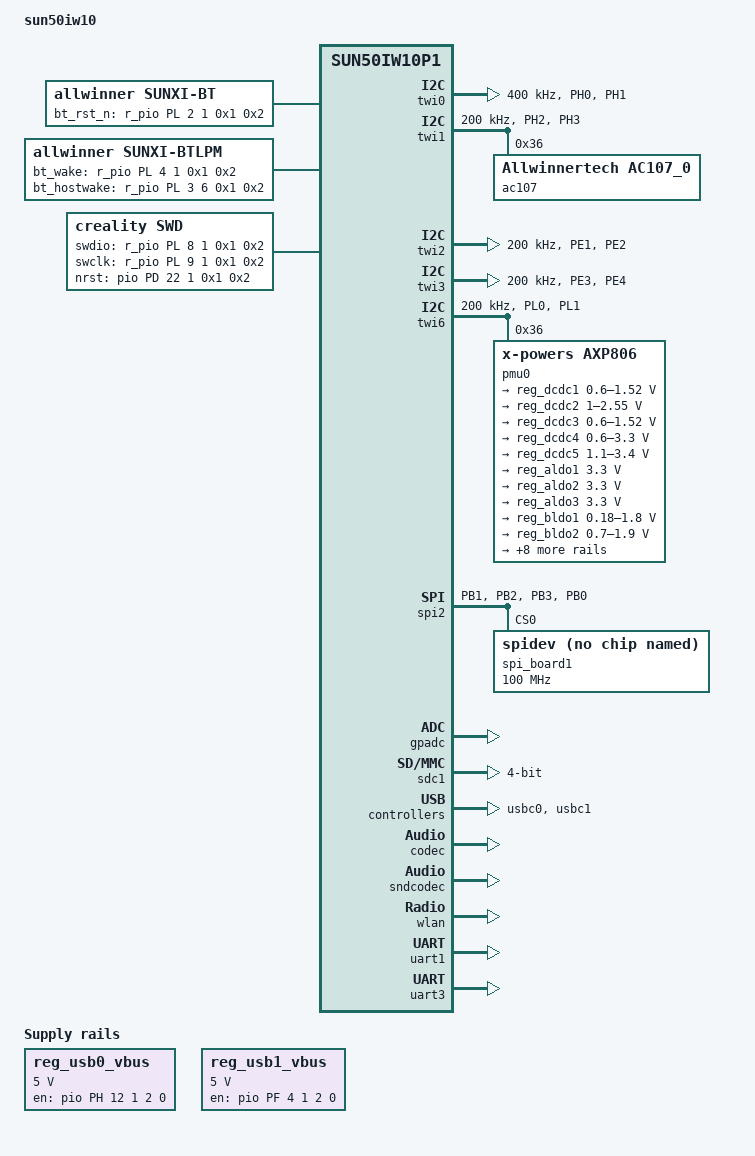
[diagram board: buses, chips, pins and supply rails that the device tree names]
/*
 * Allwinner Technology CO., Ltd. sun50iw10p1 soc board.
 *
 * soc board support.
 */

/dts-v1/;

#include "sun50iw10p1.dtsi"

/{
	model = "sun50iw10";
	compatible = "allwinner,r818", "arm,sun50iw10p1";

	aliases {
		pmu0 = &pmu0;
		standby_param = &standby_param;
	};

	reg_usb0_vbus: usb0-vbus {
		compatible = "regulator-fixed";
		gpio = <&pio PH 12 1 2 0 0>;
		regulator-name = "usb0-vbus";
		regulator-min-microvolt = <5000000>;
		regulator-max-microvolt = <5000000>;
		enable-active-high;
	};

	reg_usb1_vbus: usb1-vbus {
		compatible = "regulator-fixed";
		gpio = <&pio PF 4 1 2 0 1>;
		regulator-name = "usb1-vbus";
		regulator-min-microvolt = <5000000>;
		regulator-max-microvolt = <5000000>;
		enable-active-high;
	};

	soc@03000000 {

		r_pio: pinctrl@07022000 {

			s_twi0_pins_a: s_twi0@0 {
				allwinner,pins = "PL0", "PL1";
				allwinner,pname = "s_twi0_scl", "s_twi0_sda";
				allwinner,function = "s_twi0";
				allwinner,muxsel = <2>;
				allwinner,drive = <1>;
				allwinner,pull = <1>;
			};

			s_twi0_pins_b: s_twi0@1 {
				allwinner,pins = "PL0", "PL1";
				allwinner,function = "io_disabled";
				allwinner,muxsel = <7>;
				allwinner,drive = <1>;
				allwinner,pull = <0>;
			};
			s_twi1_pins_a: s_twi1@0 {
				allwinner,pins = "PL8", "PL9";
				allwinner,pname = "s_twi1_scl", "s_twi1_sda";
				allwinner,function = "s_twi1";
				allwinner,muxsel = <2>;
				allwinner,drive = <1>;
				allwinner,pull = <1>;
			};

			s_twi1_pins_b: s_twi1@1 {
				allwinner,pins = "PL8", "PL9";
				allwinner,function = "io_disabled";
				allwinner,muxsel = <7>;
				allwinner,drive = <1>;
				allwinner,pull = <0>;
			};
		};
		pio: pinctrl@0300b000 {
			twi0_pins_a: twi0@0 {
				allwinner,pins = "PH0", "PH1";
				allwinner,pname = "twi0_scl", "twi0_sda";
				allwinner,function = "twi0";
				allwinner,muxsel = <2>;
				allwinner,drive = <1>;
				allwinner,pull = <0>;
			};

			twi0_pins_b: twi0@1 {
				allwinner,pins = "PH0", "PH1";
				allwinner,function = "io_disabled";
				allwinner,muxsel = <7>;
				allwinner,drive = <1>;
				allwinner,pull = <0>;
			};

			twi1_pins_a: twi1@0 {
				allwinner,pins = "PH2", "PH3";
				allwinner,pname = "twi1_scl", "twi1_sda";
				allwinner,function = "twi1";
				allwinner,muxsel = <2>;
				allwinner,drive = <1>;
				allwinner,pull = <0>;
			};

			twi1_pins_b: twi1@1 {
				allwinner,pins = "PH2", "PH3";
				allwinner,function = "io_disabled";
				allwinner,muxsel = <7>;
				allwinner,drive = <1>;
				allwinner,pull = <0>;
			};

			twi2_pins_a: twi2@0 {
				allwinner,pins = "PE1", "PE2";
				allwinner,pname = "twi2_scl", "twi2_sda";
				allwinner,function = "twi2";
				allwinner,muxsel = <2>;
				allwinner,drive = <1>;
				allwinner,pull = <0>;
			};

			twi2_pins_b: twi2@1 {
				allwinner,pins = "PE1", "PE2";
				allwinner,function = "io_disabled";
				allwinner,muxsel = <7>;
				allwinner,drive = <1>;
				allwinner,pull = <0>;
			};

			twi3_pins_a: twi3@0 {
				allwinner,pins = "PE3", "PE4";
				allwinner,pname = "twi3_scl", "twi3_sda";
				allwinner,function = "twi3";
				allwinner,muxsel = <2>;
				allwinner,drive = <1>;
				allwinner,pull = <1>;
			};

			twi3_pins_b: twi3@1 {
				allwinner,pins = "PE3", "PE4";
				allwinner,function = "io_disabled";
				allwinner,muxsel = <7>;
				allwinner,drive = <1>;
				allwinner,pull = <0>;
			};

			pwm0_pin_a: pwm0@0 {
				allwinner,pins = "PD23";
				allwinner,function = "pwm0";
				allwinner,muxsel = <0x02>;
				allwinner,drive = <0x2>;
				allwinner,pull = <0>;
				allwinner,data = <0xffffffff>;
			};

			pwm0_pin_b: pwm0@1 {
				allwinner,pins = "PD23";
				allwinner,function = "io_disabled";
				allwinner,muxsel = <0x07>;
				allwinner,drive = <0x2>;
				allwinner,pull = <0>;
				allwinner,data = <0xffffffff>;
			};

			pwm1_pin_a: pwm1@0 {
				allwinner,pins = "PD22";
				allwinner,function = "pwm1";
				allwinner,muxsel = <0x02>;
				allwinner,drive = <0x2>;
				allwinner,pull = <0>;
				allwinner,data = <0xffffffff>;
			};

			pwm1_pin_b: pwm1@1 {
				allwinner,pins = "PD22";
				allwinner,function = "io_disabled";
				allwinner,muxsel = <0x07>;
				allwinner,drive = <0x2>;
				allwinner,pull = <0>;
				allwinner,data = <0xffffffff>;
			};

			pwm2_pin_a: pwm2@0 {
				allwinner,pins = "PD20";
				allwinner,function = "pwm2";
				allwinner,muxsel = <0x02>;
				allwinner,drive = <0x2>;
				allwinner,pull = <0>;
				allwinner,data = <0xffffffff>;
			};

			pwm2_pin_b: pwm2@1 {
				allwinner,pins = "PD20";
				allwinner,function = "io_disabled";
				allwinner,muxsel = <0x07>;
				allwinner,drive = <0x2>;
				allwinner,pull = <0>;
				allwinner,data = <0xffffffff>;
			};

			pwm3_pin_a: pwm3@0 {
				allwinner,pins = "PD21";
				allwinner,function = "pwm3";
				allwinner,muxsel = <0x02>;
				allwinner,drive = <0x2>;
				allwinner,pull = <0>;
				allwinner,data = <0xffffffff>;
			};

			pwm3_pin_b: pwm3@1 {
				allwinner,pins = "PD21";
				allwinner,function = "io_disabled";
				allwinner,muxsel = <0x07>;
				allwinner,drive = <0x2>;
				allwinner,pull = <0>;
				allwinner,data = <0xffffffff>;
			};

			ledc_pins_a: ledc@0 {
				allwinner,pins = "PH19";
				allwinner,function = "ledc";
				allwinner,muxsel = <5>;
			};

			ledc_pins_b: ledc@1 {
				allwinner,pins = "PH19";
				allwinner,function = "io_disabled";
				allwinner,muxsel = <7>;
			};

			usb1_vbus_pin_a: usb1_vbus_pin@0 {
				allwinner,pins = "PF4";
				allwinner,function = "gpio_out";
				allwinner,muxsel = <0x01>;
				allwinner,drive = <0x2>;
				allwinner,pull = <0>;
				allwinner,data = <0x0>;
			};

			spi0_pins_a: spi0@0 {
				allwinner,pins = "PC2", "PC4", "PC12", "PC15", "PC16";
				allwinner,pname = "spi0_mosi", "spi0_miso",
						  "spi0_sclk", "spi0_wp", "spi0_hold";
				allwinner,function = "spi0";
				allwinner,muxsel = <4>;
				allwinner,drive = <1>;
				allwinner,pull = <0>;
			};

			spi0_pins_b: spi0@1 {
				allwinner,pins = "PC3", "PC7";
				allwinner,pname = "spi0_cs0", "spi0_cs1";
				allwinner,function = "spi0";
				allwinner,muxsel = <4>;
				allwinner,drive = <1>;
				allwinner,pull = <1>;	/* only CS should be pulled up */
			};

			spi0_pins_c: spi0@2 {
				allwinner,pins = "PC2", "PC3", "PC4", "PC7", "PC12", "PC15", "PC16";
				allwinner,function = "io_disabled";
				allwinner,muxsel = <7>;
				allwinner,drive = <1>;
				allwinner,pull = <0>;
			};

			spi1_pins_a: spi1@0 {
				allwinner,pins = "PD11", "PD12", "PD13";
				allwinner,pname = "spi1_sclk", "spi1_mosi",
						  "spi1_miso";
				allwinner,function = "spi1";
				allwinner,muxsel = <4>;
				allwinner,drive = <1>;
				allwinner,pull = <0>;
			};

			spi1_pins_b: spi1@1 {
				allwinner,pins = "PD10";
				allwinner,pname = "spi1_cs0";
				allwinner,function = "spi1";
				allwinner,muxsel = <4>;
				allwinner,drive = <1>;
				allwinner,pull = <1>;	/* only CS should be pulled up */
			};

			spi1_pins_c: spi1@2 {
				allwinner,pins = "PD10", "PD11", "PD12", "PD13";
				allwinner,function = "io_disabled";
				allwinner,muxsel = <7>;
				allwinner,drive = <1>;
				allwinner,pull = <0>;
			};

			spi2_pins_a: spi2@0 {
				allwinner,pins = "PB1", "PB2", "PB3";
				allwinner,pname = "spi2_sclk", "spi2_mosi",
						  "spi2_miso";
				allwinner,function = "spi2";
				allwinner,muxsel = <3>;
				allwinner,drive = <1>;
				allwinner,pull = <0>;
			};

			spi2_pins_b: spi2@1 {
				allwinner,pins = "PB0";
				allwinner,pname = "spi2_cs0";
				allwinner,function = "spi2";
				allwinner,muxsel = <3>;
				allwinner,drive = <1>;
				allwinner,pull = <1>;	/* only CS should be pulled up */
			};

			spi2_pins_c: spi2@2 {
				allwinner,pins = "PB0", "PB1", "PB2", "PB3";
				allwinner,function = "io_disabled";
				allwinner,muxsel = <7>;
				allwinner,drive = <1>;
				allwinner,pull = <0>;
			};
		};


		/delete-node/ thermal-zones;

		thermal-zones {
			cpu_thermal_zone {
				polling-delay-passive = <500>;
				polling-delay = <1000>;
				thermal-sensors = <&ths 0>;
				trips{
					cpu_trip0:t0{
						temperature = <95000>;
						type = "passive";
						hysteresis = <0>;
					};
					cpu_trip1:t1{
						temperature = <100000>;
						type = "passive";
						hysteresis = <0>;
					};
					cpu_trip2:t2{
						temperature = <110000>;
						type = "passive";
						hysteresis = <0>;
					};
					crt_trip:shutdown{
						temperature = <120000>;
						type = "critical";
						hysteresis = <0>;
					};
				};
				cooling-maps {
					bind0{
						contribution = <0>;
						trip = <&cpu_trip0>;
						cooling-device = <&cpu0 1 1>;
					};
					bind1{
						contribution = <0>;
						trip = <&cpu_trip1>;
						cooling-device = <&cpu0 2 2>;
					};
					bind2{
						contribution = <0>;
						trip = <&cpu_trip2>;
						cooling-device = <&cpu0 3 3>;
					};
				/*	map1{
						trip = <&cpu_target>;
						cooling-device = <&gpu
						THERMAL_NO_LIMIT
						THERMAL_NO_LIMIT>;
						contribution = <1024>;
					};	*/
				};
			};
			gpu_thermal_zone{
				polling-delay-passive = <500>;
				polling-delay = <1000>;
				thermal-sensors = <&ths 1>;
				sustainable-power = <1100>;
			};
			ddr_thermal_zone{
				polling-delay-passive = <0>;
				polling-delay = <0>;
				thermal-sensors = <&ths 2>;
			};
		};

		uart0: uart@05000000 {
			uart-supply = <&reg_dcdc5>;
		};

		twi0: twi@0x05002000{
			clock-frequency = <400000>;
			pinctrl-0 = <&twi0_pins_a>;
			pinctrl-1 = <&twi0_pins_b>;
			status = "okay";
			/* audio: add ac108 capture */
			/*
                        ac108@3B {
				compatible = "Allwinner,MicArray_0";
				device_type = "MicArray_0";
				reg = <0x3B>;
				regulator_used = <0x0>;
				power_gpio_used = <0x0>;
				reset_gpio_used = <0x0>;
				twi_bus = <0x1>;
				pga_gain = <0x1F>;
				slot_width = <0x20>;
				lrck_period = <0x80>;
				ref_pga_used = <0x1>;
				ref_pga_gain = <0x10>;
				ref_channel = <0x3>;
				debug_mode = <0x0>;
			};
			*/
		};

		twi1: twi@0x05002400{
			clock-frequency = <200000>;
			pinctrl-0 = <&twi1_pins_a>;
			pinctrl-1 = <&twi1_pins_b>;
			status = "okay";
			ac107@36 {
				compatible = "Allwinnertech,ac107_0";
				gpio-reset = "null";
				reg = <0x36>;
				status = "okay";
			};
		};

		twi2: twi@0x05002800{
			clock-frequency = <200000>;
			pinctrl-0 = <&twi2_pins_a>;
			pinctrl-1 = <&twi2_pins_b>;
			twi-supply = <&reg_cldo2>;
			status = "okay";
		};

		twi3: twi@0x05002c00{
			clock-frequency = <200000>;
			pinctrl-0 = <&twi3_pins_a>;
			pinctrl-1 = <&twi3_pins_b>;
			twi-supply = <&reg_cldo2>;
			status = "okay";
		};

		twi6: s_twi@0x07081400{
			clock-frequency = <200000>;
			pinctrl-0 = <&s_twi0_pins_a>;
			pinctrl-1 = <&s_twi0_pins_b>;
			no_suspend = <1>;
			twi_drv_used = <1>;
			status = "okay";

			pmu0: pmu@36 {
				compatible = "x-powers,axp806";
				reg = <0x36>;
				interrupts = <0 IRQ_TYPE_LEVEL_LOW>;
				interrupt-parent = <&nmi_intc>;

				wakeup-source;

				usb_power_supply: usb_power_supply {
					compatible = "x-powers,axp806-usb-power-supply";
					status = "okay";

					pmu_usbpc_vol = <4600>;
					/*
					 * debug conveniently, change usbpc_cur 1000
					 * should be restore 500 later
					 */
					pmu_usbpc_cur = <1000>;
					pmu_usbad_vol = <4600>;
					pmu_usbad_cur = <1500>;

					wakeup_usb_in;
					wakeup_usb_out;
				};

				powerkey0: powerkey@0 {
					status = "okay";
					compatible = "x-powers,axp2101-pek";
					pmu_powkey_off_time = <6000>;
					pmu_powkey_off_func = <0>;
					pmu_powkey_off_en = <1>;
					pmu_powkey_long_time = <1500>;
					pmu_powkey_on_time = <512>;
					wakeup_rising;
					wakeup_falling;
				};

				regulator0: regulators@0 {
					reg_dcdc1: dcdca {
						regulator-name = "axp806-dcdca";
						regulator-min-microvolt = <600000>;
						regulator-max-microvolt = <1520000>;
						regulator-step-delay-us = <25>;
						regulator-final-delay-us = <50>;
						regulator-always-on;
					};

					reg_dcdc2: dcdcb {
						regulator-name = "axp806-dcdcb";
						regulator-min-microvolt = <1000000>;
						regulator-max-microvolt = <2550000>;
						regulator-step-delay-us = <25>;
						regulator-final-delay-us = <50>;
						regulator-always-on;
					};

					reg_dcdc3: dcdcc {
						regulator-name = "axp806-dcdcc";
						regulator-min-microvolt = <600000>;
						regulator-max-microvolt = <1520000>;
						regulator-step-delay-us = <25>;
						regulator-final-delay-us = <50>;
						regulator-always-on;
					};

					reg_dcdc4: dcdcd {
						regulator-name = "axp806-dcdcd";
						regulator-min-microvolt = <600000>;
						regulator-max-microvolt = <3300000>;
						regulator-step-delay-us = <25>;
						regulator-final-delay-us = <50>;
						regulator-always-on;
					};

					reg_dcdc5: dcdce {
						regulator-name = "axp806-dcdce";
						regulator-min-microvolt = <1100000>;
						regulator-max-microvolt = <3400000>;
						regulator-step-delay-us = <25>;
						regulator-final-delay-us = <50>;
					};

					reg_aldo1: aldo1 {
						regulator-name = "axp806-aldo1";
						regulator-min-microvolt = <3300000>;
						regulator-max-microvolt = <3300000>;
						regulator-step-delay-us = <25>;
						regulator-final-delay-us = <50>;
						regulator-always-on;
					};

					reg_aldo2: aldo2 {
						regulator-name = "axp806-aldo2";
						regulator-min-microvolt = <3300000>;
						regulator-max-microvolt = <3300000>;
						regulator-step-delay-us = <25>;
						regulator-final-delay-us = <50>;
						/*regulator-always-on;*/
					};

					reg_aldo3: aldo3 {
						regulator-name = "axp806-aldo3";
						regulator-min-microvolt = <3300000>;
						regulator-max-microvolt = <3300000>;
						regulator-step-delay-us = <25>;
						regulator-final-delay-us = <50>;
						regulator-always-on;
					};

					reg_bldo1: bldo1 {
						regulator-name = "axp806-bldo1";
						regulator-min-microvolt = <180000>;
						regulator-max-microvolt = <1800000>;
						regulator-step-delay-us = <25>;
						regulator-final-delay-us = <50>;
						regulator-always-on;
					};

					reg_bldo2: bldo2 {
						regulator-name = "axp806-bldo2";
						regulator-min-microvolt = <700000>;
						regulator-max-microvolt = <1900000>;
						regulator-step-delay-us = <25>;
						regulator-final-delay-us = <50>;
						regulator-always-on;
					};

					reg_bldo3: bldo3 {
						regulator-name = "axp806-bldo3";
						regulator-min-microvolt = <700000>;
						regulator-max-microvolt = <1900000>;
						regulator-step-delay-us = <25>;
						regulator-final-delay-us = <50>;
					};

					reg_bldo4: bldo4 {
						regulator-name = "axp806-bldo4";
						regulator-min-microvolt = <700000>;
						regulator-max-microvolt = <1900000>;
						regulator-step-delay-us = <25>;
						regulator-final-delay-us = <50>;
					};

					reg_cldo1: cldo1 {
						regulator-name = "axp806-cldo1";
						regulator-min-microvolt = <700000>;
						regulator-max-microvolt = <3300000>;
						regulator-step-delay-us = <25>;
						regulator-final-delay-us = <50>;
						regulator-always-on;
					};

					reg_cldo2: cldo2 {
						regulator-name = "axp806-cldo2";
						regulator-min-microvolt = <700000>;
						regulator-max-microvolt = <4200000>;
						regulator-step-delay-us = <25>;
						regulator-final-delay-us = <50>;
					};

					reg_cldo3: cldo3 {
						regulator-name = "axp806-cldo3";
						regulator-min-microvolt = <700000>;
						regulator-max-microvolt = <3300000>;
						regulator-step-delay-us = <25>;
						regulator-final-delay-us = <50>;
					};

					/* Need to be deleted */
					reg_dldo1: ldo2 {
						regulator-name = "axp1530-dldo1";
						regulator-min-microvolt = <3300000>;
						regulator-max-microvolt = <3300000>;
						regulator-step-delay-us = <25>;
						regulator-final-delay-us = <50>;
						regulator-always-on;
					};

					reg_sw: sw {
						regulator-name = "axp806-sw";
					};

					reg_drivevbus: drivevbus {
						regulator-name = "axp806-drivevbus";
					};

				};

				virtual-dcdc1 {
					compatible = "xpower-vregulator,dcdc1";
					dcdc1-supply = <&reg_dcdc1>;
				};
				virtual-dcdc2 {
					compatible = "xpower-vregulator,dcdc2";
					dcdc2-supply = <&reg_dcdc2>;
				};
				virtual-dcdc3 {
					compatible = "xpower-vregulator,dcdc3";
					dcdc3-supply = <&reg_dcdc3>;
				};
				virtual-dcdc4 {
					compatible = "xpower-vregulator,dcdc4";
					dcdc4-supply = <&reg_dcdc4>;
				};
				virtual-dcdc5 {
					compatible = "xpower-vregulator,dcdc5";
					dcdc5-supply = <&reg_dcdc5>;
				};
				virtual-aldo1 {
					compatible = "xpower-vregulator,aldo1";
					aldo1-supply = <&reg_aldo1>;
				};
				virtual-aldo2 {
					compatible = "xpower-vregulator,aldo2";
					aldo2-supply = <&reg_aldo2>;
				};
				virtual-aldo3 {
					compatible = "xpower-vregulator,aldo3";
					aldo3-supply = <&reg_aldo3>;
				};
				virtual-bldo1 {
					compatible = "xpower-vregulator,bldo1";
					bldo1-supply = <&reg_bldo1>;
				};
				virtual-bldo2 {
					compatible = "xpower-vregulator,bldo2";
					bldo2-supply = <&reg_bldo2>;
				};
				virtual-bldo3 {
					compatible = "xpower-vregulator,bldo3";
					bldo3-supply = <&reg_bldo3>;
				};
				virtual-bldo4 {
					compatible = "xpower-vregulator,bldo4";
					bldo4-supply = <&reg_bldo4>;
				};
				virtual-cldo1 {
					compatible = "xpower-vregulator,cldo1";
					cldo1-supply = <&reg_cldo1>;
				};
				virtual-cldo2 {
					compatible = "xpower-vregulator,cldo2";
					cldo2-supply = <&reg_cldo2>;
				};
				virtual-cldo3 {
					compatible = "xpower-vregulator,cldo3";
					cldo3-supply = <&reg_cldo3>;
				};
				virtual-drivevbus {
					compatible = "xpower-vregulator,drivevbus";
					drivevbus-supply = <&reg_drivevbus>;
				};
			};
		};

		twi7: s_twi@0x07081800{
			clock-frequency = <200000>;
			pinctrl-0 = <&s_twi1_pins_a>;
			pinctrl-1 = <&s_twi1_pins_b>;
			status = "disabled";
		};
		standby_param: standby_param {
			vdd-cpu = <0x00000001>;
			vdd-sys = <0x00000004>;
			vcc-pll = <0x00000000>;
			osc24m-on = <0x1>;
		};


		spi0: spi@05010000 {
			pinctrl-0 = <&spi0_pins_a &spi0_pins_b>;
			pinctrl-1 = <&spi1_pins_c>;
			spi_slave_mode = <0>;
			status = "disabled";
			spi_board0 {
				device_type = "spi_board0";
				compatible = "rohm,dh2228fv";
				spi-max-frequency = <0x5f5e100>;
				reg = <0x0>;
				spi-rx-bus-width = <0x1>;
				spi-tx-bus-width = <0x1>;
				status = "disabled";
			};
		};

		spi1: spi@05011000 {
			pinctrl-0 = <&spi1_pins_a &spi1_pins_b>;
			pinctrl-1 = <&spi1_pins_c>;
			spi_slave_mode = <0>;
			status = "disabled";
			spi_board1 {
				device_type = "spi_board1";
				compatible = "rohm,dh2228fv";
				spi-max-frequency = <0x5f5e100>;
				reg = <0x0>;
				spi-rx-bus-width = <0x1>;
				spi-tx-bus-width = <0x1>;
				status = "disabled";
			};
		};

		spi2: spi@05012000 {
			pinctrl-0 = <&spi2_pins_a &spi2_pins_b>;
			pinctrl-1 = <&spi2_pins_c>;
			spi_slave_mode = <0>;
			status = "okay";
			spi_board1 {
				device_type = "spi_board2";
				compatible = "rohm,dh2228fv";
				spi-max-frequency = <100000000>;
				reg = <0x0>;
				spi-rx-bus-width = <0x1>;
				spi-tx-bus-width = <0x1>;
				status = "okay";
			};
		};

		pwm0: pwm0@0300a000 {
			pinctrl-names = "active", "sleep";
			pinctrl-0 = <&pwm0_pin_a>;
			pinctrl-1 = <&pwm0_pin_b>;
		};

		pwm1: pwm1@0300a000 {
			pinctrl-names = "active", "sleep";
			pinctrl-0 = <&pwm1_pin_a>;
			pinctrl-1 = <&pwm1_pin_b>;
		};

		ledc: ledc@0x05018000 {
			pinctrl-0 = <&ledc_pins_a>;
			pinctrl-1 = <&ledc_pins_b>;
			status	  = "okay";
		};

		gpadc:gpadc{
			channel_num = <1>;
			channel_select = <0x01>;
			channel_data_select = <0>;
			channel_compare_select = <0x01>;
			channel_cld_select = <0x01>;
			channel_chd_select = <0>;
			channel0_compare_lowdata = <1700000>;
			channel0_compare_higdata = <1200000>;
			key_cnt = <5>;
			key0_vol = <115>;
			key0_val = <115>;
			key1_vol = <240>;
			key1_val = <114>;
			key2_vol = <360>;
			key2_val = <139>;
			key3_vol = <480>;
			key3_val = <28>;
			key4_vol = <600>;
			key4_val = <102>;
			status = "okay";
		};

		sdc2: sdmmc@04022000 {
			non-removable;
			bus-width = <8>;
			mmc-ddr-1_8v;
			mmc-hs200-1_8v;
			mmc-hs400-1_8v;
			no-sdio;
			no-sd;
			ctl-spec-caps = <0x8>;
			cap-mmc-highspeed;
			sunxi-power-save-mode;
			sunxi-dis-signal-vol-sw;
			max-frequency = <100000000>;
			vmmc-supply = <&reg_dcdc5>;
			/*emmc io vol 3.3v*/
			/*vqmmc-supply = <&reg_aldo1>;*/
			/*emmc io vol 1.8v*/
			vqmmc-supply = <&reg_dcdc5>;
			status = "disabled";
		};

		sdc0: sdmmc@04020000 {
			bus-width = <4>;
			cd-gpios = <&pio PF 6 6 1 3 0xffffffff>;
			/*non-removable;*/
			/*broken-cd;*/
			/*cd-inverted*/
			/*data3-detect;*/
			/*card-pwr-gpios = <&pio PH 14 1 1 2 0xffffffff>;*/
			cd-used-24M;
			cap-sd-highspeed;
			sd-uhs-sdr50;
			sd-uhs-ddr50;
			sd-uhs-sdr104;
			no-sdio;
			no-mmc;
			sunxi-power-save-mode;
			/*sunxi-dis-signal-vol-sw;*/
			max-frequency = <150000000>;
			ctl-spec-caps = <0x8>;
			/*vmmc-supply = <&reg_dcdc1>;*/
			/*vqmmc33sw-supply = <&reg_dcdc1>;*/
			/*vdmmc33sw-supply = <&reg_dcdc1>;*/
			/*vqmmc18sw-supply = <&reg_eldo1>;*/
			/*vdmmc18sw-supply = <&reg_eldo1>;*/
			status = "disabled";
		};

		sdc1: sdmmc@04021000 {
			bus-width = <4>;
			no-mmc;
			no-sd;
			cap-sd-highspeed;
			/*sd-uhs-sdr12*/
			/*sd-uhs-sdr25*/
			/*sd-uhs-sdr50;*/
			/*sd-uhs-ddr50;*/
			/*sd-uhs-sdr104*/
			/*sunxi-power-save-mode;*/
			/*sunxi-dis-signal-vol-sw;*/
			cap-sdio-irq;
			keep-power-in-suspend;
			ignore-pm-notify;
			max-frequency = <50000000>;
			ctl-spec-caps = <0x8>;
			status = "okay";
		};

/*
 *usb_used: usb controller enable. 0-disable, 1-enable.
 *usb_port_type: usb mode. 0-device, 1-host, 2-otg.
 *usb_detect_mode: usb otg switch has two config. 0-thread scan, 1-id gpio interrupt.
 *usb_drv_vbus_gpio：USB DRY_VBUS pin config or "axp_ctrl"
 */
		usbc0:usbc0@0 {
			device_type = "usbc0";
			usb_port_type = <0x2>;
			usb_detect_mode = <0x0>;
			usb_id_gpio = <&pio PF 0 0 0 0xffffffff 0xffffffff>;
			usb_det_vbus_gpio   = <&pio PF 0 0 0 0xffffffff 0xffffffff>;
			usb_regulator_io = "nocare";
			usb_wakeup_suspend = <0>;
			usb_luns = <3>;
			usb_serial_unique = <1>;
			usb_serial_number = "20080411";
			rndis_wceis = <1>;
			status = "okay";
		};

		ehci0:ehci0-controller@0x05101000 {
			drvvbus-supply = <&reg_usb0_vbus>;
		};

		ohci0:ohci0-controller@0x05101400 {
			drvvbus-supply = <&reg_usb0_vbus>;
		};

		usbc1:usbc1@0 {
			device_type = "usbc1";
			usb_regulator_io = "nocare";
			usb_wakeup_suspend = <0>;
			status = "okay";
		};

		ehci1:ehci1-controller@0x05200000 {
			drvvbus-supply = <&reg_usb1_vbus>;
		};

		ohci1:ohci1-controller@0x05200400 {
			drvvbus-supply = <&reg_usb1_vbus>;
		};

		/* Audio Driver Modules */
		codec:codec@0x05096000 {
			/* MIC and headphone gain setting */
			mic1gain 	= <0x17>;
			mic2gain 	= <0x17>;
			headphonegain	= <0x00>;
			/* adc/dac DRC/HPF func enabled */
			adcdrc_cfg 	= <0x00>;
			adchpf_cfg 	= <0x00>;
			dacdrc_cfg 	= <0x00>;
			dachpf_cfg 	= <0x00>;
			/* Volume about */
			digital_vol 	= <0x00>;
			lineout_vol 	= <0x1a>;
			dac_digital_vol = <0x1A0A0>;
			/* Pa enabled about */
			pa_level 	= <0x01>;
			pa_msleep_time 	= <0xa0>;
			gpio-spk = <&pio PF 2 1 1 1 1>;
			/* regulator about */
			avcc-supply = <&reg_bldo1>;
			cpvin-supply = <&reg_bldo3>;
			status = "okay";
		};

		cpudai:cpudai-controller@0x050906000 {
			status = "okay";
		};

		sndcodec:sound@0 {
			status = "okay";
		};

		spdif:spdif-controller@0x05094000{
			status = "disabled";
		};

		sndspdif:sound@1{
			status = "disabled";
		};

		dmic:dmic-controller@0x05095000{
			status = "disabled";
		};

		snddmic:sound@2{
			status = "disabled";
		};

		daudio0:daudio@0x05090000 {
			mclk_div 	= <0x02>;
			frametype 	= <0x00>;
			tdm_config 	= <0x01>;
			sign_extend 	= <0x00>;
			tx_data_mode 	= <0x00>;
			rx_data_mode 	= <0x00>;
			msb_lsb_first 	= <0x00>;
			pcm_lrck_period = <0x80>;
			slot_width_select = <0x20>;
			status = "okay";
		};

		snddaudio0:sound@3 {
		/*
			sunxi,snddaudio-codec = "ac108.0-003b";
			sunxi,snddaudio-codec-dai = "ac108-pcm0";
		*/
			sunxi,snddaudio-codec = "ac107.1-0036";
			sunxi,snddaudio-codec-dai = "ac107-pcm0";
			audio_format 	= <0x01>;
			daudio_master 	= <0x04>;
			signal_inversion  = <0x01>;
			status = "okay";
		};

		daudio1:daudio@0x05091000 {
			mclk_div 	= <0x01>;
			frametype 	= <0x00>;
			tdm_config 	= <0x01>;
			sign_extend 	= <0x00>;
			tx_data_mode 	= <0x00>;
			rx_data_mode 	= <0x00>;
			msb_lsb_first 	= <0x00>;
			pcm_lrck_period = <0x20>;
			slot_width_select = <0x20>;
			status = "disabled";
		};

		snddaudio1:sound@4 {
			audio_format 	= <0x01>;
			daudio_master 	= <0x04>;
			signal_inversion  = <0x01>;
			status = "disabled";
		};

		daudio2:daudio@0x05092000 {
			mclk_div 	= <0x01>;
			frametype 	= <0x00>;
			tdm_config 	= <0x01>;
			sign_extend 	= <0x00>;
			tx_data_mode 	= <0x00>;
			rx_data_mode 	= <0x00>;
			msb_lsb_first 	= <0x00>;
			pcm_lrck_period = <0x20>;
			slot_width_select = <0x20>;
			status = "disabled";
		};

		snddaudio2:sound@5 {
			audio_format 	= <0x01>;
			daudio_master 	= <0x04>;
			signal_inversion  = <0x01>;
			status = "disabled";
		};

		daudio3:daudio@0x05093000 {
			mclk_div 	= <0x01>;
			frametype 	= <0x00>;
			tdm_config 	= <0x01>;
			sign_extend 	= <0x00>;
			tx_data_mode 	= <0x00>;
			rx_data_mode 	= <0x00>;
			msb_lsb_first 	= <0x00>;
			pcm_lrck_period = <0x20>;
			slot_width_select = <0x20>;
			status = "disabled";
		};

		snddaudio3:sound@6 {
			audio_format 	= <0x01>;
			daudio_master 	= <0x04>;
			signal_inversion  = <0x01>;
			status = "disabled";
		};
		vind0:vind@0 {
			vind0_clk = <336000000>;
			vind0_isp = <300000000>;
			status = "okay";

			actuator0:actuator@0 {
				device_type = "actuator0";
				actuator0_name = "ad5820_act";
				actuator0_slave = <0x18>;
				actuator0_af_pwdn = <>;
				actuator0_afvdd = "afvcc-csi";
				actuator0_afvdd_vol = <2800000>;
				status = "disabled";
			};
			flash0:flash@0 {
				device_type = "flash0";
				flash0_type = <2>;
				flash0_en = <>;
				flash0_mode = <>;
				flash0_flvdd = "";
				flash0_flvdd_vol = <>;
				device_id = <0>;
				status = "disabled";
			};
			sensor0:sensor@0 {
				device_type = "sensor0";
				sensor0_mname = "imx278_mipi";
				sensor0_twi_cci_id = <2>;
				sensor0_twi_addr = <0x20>;
				sensor0_mclk_id = <0>;
				sensor0_pos = "rear";
				sensor0_isp_used = <1>;
				sensor0_fmt = <1>;
				sensor0_stby_mode = <0>;
				sensor0_vflip = <0>;
				sensor0_hflip = <0>;
				sensor0_iovdd-supply = <&reg_cldo2>;
				sensor0_iovdd_vol = <1800000>;
				sensor0_avdd-supply = <&reg_cldo3>;
				sensor0_avdd_vol = <2800000>;
				sensor0_dvdd-supply = <&reg_bldo4>;
				sensor0_dvdd_vol = <1200000>;
				sensor0_power_en = <>;
				sensor0_reset = <&pio PE 9 1 0 1 0>;
				sensor0_pwdn = <&pio PE 8 1 0 1 0>;
				status	= "okay";
			};
			sensor1:sensor@1 {
				device_type = "sensor1";
				sensor1_mname = "imx386_mipi";
				sensor1_twi_cci_id = <3>;
				sensor1_twi_addr = <0x20>;
				sensor1_mclk_id = <1>;
				sensor1_pos = "front";
				sensor1_isp_used = <1>;
				sensor1_fmt = <1>;
				sensor1_stby_mode = <0>;
				sensor1_vflip = <0>;
				sensor1_hflip = <0>;
				sensor1_iovdd-supply = <&reg_cldo2>;
				sensor1_iovdd_vol = <1800000>;
				sensor1_avdd-supply = <&reg_cldo3>;
				sensor1_avdd_vol = <2800000>;
				sensor1_dvdd-supply = <&reg_bldo4>;
				sensor1_dvdd_vol = <1200000>;
				sensor0_power_en = <>;
				sensor1_reset = <&pio PE 7 1 0 1 0>;
				sensor1_pwdn = <&pio PE 6 1 0 1 0>;
				status	= "okay";
			};
			vinc0:vinc@0 {
				vinc0_csi_sel = <0>;
				vinc0_mipi_sel = <0>;
				vinc0_isp_sel = <0>;
				vinc0_isp_tx_ch = <0>;
				vinc0_tdm_rx_sel = <0>;
				vinc0_rear_sensor_sel = <0>;
				vinc0_front_sensor_sel = <0>;
				vinc0_sensor_list = <0>;
				status = "okay";
			};
			vinc1:vinc@1 {
				vinc1_csi_sel = <1>;
				vinc1_mipi_sel = <1>;
				vinc1_isp_sel = <1>;
				vinc1_isp_tx_ch = <0>;
				vinc1_tdm_rx_sel = <1>;
				vinc1_rear_sensor_sel = <1>;
				vinc1_front_sensor_sel = <1>;
				vinc1_sensor_list = <0>;
				status = "okay";
			};
			vinc2:vinc@2 {
				vinc2_csi_sel = <1>;
				vinc2_mipi_sel = <1>;
				vinc2_isp_sel = <0>;
				vinc2_isp_tx_ch = <0>;
				vinc2_tdm_rx_sel = <1>;
				vinc2_rear_sensor_sel = <0>;
				vinc2_front_sensor_sel = <1>;
				vinc2_sensor_list = <0>;
				status = "disabled";
			};
			vinc3:vinc@3 {
				vinc3_csi_sel = <1>;
				vinc3_mipi_sel = <1>;
				vinc3_isp_sel = <0>;
				vinc3_isp_tx_ch = <0>;
				vinc3_tdm_rx_sel = <1>;
				vinc3_rear_sensor_sel = <0>;
				vinc3_front_sensor_sel = <1>;
				vinc3_sensor_list = <0>;
				status = "disabled";
			};
		};
/*----------------------------------------------------------------------------------
disp init configuration

disp_mode             (0:screen0<screen0,fb0>)
screenx_output_type   (0:none; 1:lcd; 2:tv; 3:hdmi;5:vdpo)
screenx_output_mode   (used for hdmi output, 0:480i 1:576i 2:480p 3:576p 4:720p50)
                      (5:720p60 6:1080i50 7:1080i60 8:1080p24 9:1080p50 10:1080p60)
screenx_output_format (for hdmi, 0:RGB 1:yuv444 2:yuv422 3:yuv420)
screenx_output_bits   (for hdmi, 0:8bit 1:10bit 2:12bit 2:16bit)
screenx_output_eotf   (for hdmi, 0:reserve 4:SDR 16:HDR10 18:HLG)
screenx_output_cs     (for hdmi, 0:undefined  257:BT709 260:BT601  263:BT2020)
screenx_output_dvi_hdmi (for hdmi, 0:undefined 1:dvi mode 2:hdmi mode)
screen0_output_range   (for hdmi, 0:default 1:full 2:limited)
screen0_output_scan    (for hdmi, 0:no data 1:overscan 2:underscan)
screen0_output_aspect_ratio  (for hdmi, 8-same as original picture 9-4:3 10-16:9 11-14:9)
fbx format            (4:RGB655 5:RGB565 6:RGB556 7:ARGB1555 8:RGBA5551 9:RGB888 10:ARGB8888 12:ARGB4444)
fbx pixel sequence    (0:ARGB 1:BGRA 2:ABGR 3:RGBA)
fb0_scaler_mode_enable(scaler mode enable, used FE)
fbx_width,fbx_height  (framebuffer horizontal/vertical pixels, fix to output resolution while equal 0)
lcdx_backlight        (lcd init backlight,the range:[0,256],default:197
lcdx_yy               (lcd init screen bright/contrast/saturation/hue, value:0~100, default:50/50/57/50)
lcd0_contrast         (LCD contrast, 0~100)
lcd0_saturation       (LCD saturation, 0~100)
lcd0_hue              (LCD hue, 0~100)
framebuffer software rotation setting:
disp_rotation_used:   (0:disable; 1:enable,you must set fbX_width to lcd_y,
set fbX_height to lcd_x)
degreeX:              (X:screen index; 0:0 degree; 1:90 degree; 3:270 degree)
degreeX_Y:            (X:screen index; Y:layer index 0~15; 0:0 degree; 1:90 degree; 3:270 degree)
devX_output_type : config output type in bootGUI framework in UBOOT-2018.
				   (0:none; 1:lcd; 2:tv; 4:hdmi;)
devX_output_mode : config output resolution(see include/video/sunxi_display2.h) of bootGUI framework in UBOOT-2018
devX_screen_id   : config display index of bootGUI framework in UBOOT-2018
devX_do_hpd      : whether do hpd detectation or not in UBOOT-2018
chn_cfg_mode     : Hardware DE channel allocation config. 0:single display with 6
				   channel, 1:dual display with 4 channel in main display and 2 channel in second
                   display, 2:dual display with 3 channel in main display and 3 channel in second
                   in display.
----------------------------------------------------------------------------------*/
		disp: disp@06000000 {
			disp_init_enable         = <1>;
			disp_mode                = <0>;

			screen0_output_type      = <1>;
			screen0_output_mode      = <4>;

			screen1_output_type      = <3>;
			screen1_output_mode      = <10>;

			screen1_output_format    = <0>;
			screen1_output_bits      = <0>;
			screen1_output_eotf      = <4>;
			screen1_output_cs        = <257>;
			screen1_output_dvi_hdmi  = <2>;
			screen1_output_range     = <2>;
			screen1_output_scan      = <0>;
			screen1_output_aspect_ratio = <8>;

			dev0_output_type         = <1>;
			dev0_output_mode         = <4>;
			dev0_screen_id           = <0>;
			dev0_do_hpd              = <0>;

			dev1_output_type         = <4>;
			dev1_output_mode         = <10>;
			dev1_screen_id           = <1>;
			dev1_do_hpd              = <1>;

			def_output_dev           = <0>;
			hdmi_mode_check          = <1>;

			fb0_format               = <0>;
			fb0_width                = <0>;
			fb0_height               = <0>;

			fb1_format               = <0>;
			fb1_width                = <0>;
			fb1_height               = <0>;
			chn_cfg_mode             = <1>;

			disp_para_zone           = <1>;
			/*VCC-LCD*/
			dc1sw-supply = <&reg_sw>;
			/*VCC-DSI*/
			/*eldo3-supply = <&reg_dcdc2>;*/
			/*VCC-PD*/
			/*dcdc1-supply = <&reg_dcdc5>;*/
		};
/*----------------------------------------------------------------------------
*tps65185
*-----------------------------------------------------------------------------
*tps65185 ic wakeup&vcom
*-----------------------------------------------------------------------------*/
		tps65185: tps65185@68 {
			tps65185_used             = <0>;
			tps65185_name             = "tps65185";
			tps65185_twi_id           = <0>;
			tps65185_twi_addr         = <0x68>;
			tps65185_wakeup           = <&pio PH 13 1 1 3 1>;
			tps65185_vcom             = <&pio PH 12 1 1 3 1>;
			tps65185_powerup          = <&pio PD 23 1 1 3 0>;
			dc1sw-supply		  = <&reg_sw>;
			tps65185_ldo		  = "dc1sw";
		};

		tps65185_slave: tps65185_slave@68 {
			tps65185_used             = <0>;
			tps65185_name             = "tps65185_slave";
			tps65185_twi_id           = <1>;
			tps65185_twi_addr         = <0x68>;
			/* the follow gpio is shared with master tps65185 */
		/*	tps65185_wakeup           = port:PH06<1><1><3><1>
			tps65185_vcom             = port:PB08<1><1><3><1>
			tps65185_powerup          = port:PH04<1><1><3><0>
			tps65185_powergood        = port:PD23<0><1><3><1>
			tps65185_int              = port:PH05<6><default><3><default>
			tps65185_ldo              = "vcc-pmic1"
			*/
		};
/*----------------------------------------------------------------------------------
 */
		eink: eink@06400000 {
			eink_panel_name     = "default_eink";
			eink_scan_mode      = <0>;
			eink_width          = <1024>;
			eink_height         = <758>;
			eink_bits           = <5>;
			eink_data_len       = <8>;
			eink_lsl            = <6>;
			eink_lbl            = <6>;
			eink_lel            = <38>;
			eink_fsl            = <2>;
			eink_fbl            = <4>;
			eink_fel            = <5>;
			eink_lgonl          = <262>;
			eink_gdck_sta       = <4>;
			eink_gdoe_start_line= <2>;
			eink_fresh_hz       = <85>;
			eink_gray_level     = <16>;
			eink_wav_path       = "/system/default_8_5.awf";
			vcom_path           = "/system/vcom.bin";
			/*VCC-LCD*/
			dc1sw-supply	    = <&reg_sw>;
			/*VCC-PD*/
			dcdc1-supply	    = <&reg_dcdc5>;
			eink_pin_power	    = "dcdc1";
			eink_power	    = "dc1sw";
			pinctrl-0	    = <&eink_pins_a>;
			pinctrl-1	    = <&eink_pins_b>;
		};
/*----------------------------------------------------------------------------------
;lcd0 configuration

;lcd_if:               0:hv(sync+de); 1:8080; 2:ttl; 3:lvds; 4:dsi; 5:edp; 6:extend dsi
;lcd_hv_if             0:Parallel RGB; 8:Serial RGB; 10:Dummy RGB; 11: RGB Dummy;12:CCIR656
;lcd_hv_clk_phase      0:0 degree;1:90 degree;2:180 degree;3:270 degree
;lcd_hv_sync_polarity  0:vs low,hs low; 1:vs high,hslow; 2:vs low,hs high; 3:vs high,hs high
;lcd_hv_syuv_seq       0:YUYV; 1:YVYU; 2:UYVY; 3:VYUY
;lcd_cpu_if            0:18bit/1 cycle parallel(RGB666); 4:16bit/1cycle parallel (RGB565)
;                      6:18bit/3 cycle parallel(RGB666); 7:16bit/2cycle parallel (RGB565)
;lcd_cpu_te            0:frame auto trigger; 1:frame triggered by te rising edge; 2:frame triggered by te falling edge;
;lcd_dsi_if            0:video mode; 1: Command mode; 2:video burst mode
;lcd_dsi_te            0:frame auto trigger; 1:frame triggered by te rising edge; 2:frame triggered by te falling edge;
;lcd_x:                lcd horizontal resolution
;lcd_y:                lcd vertical resolution
;lcd_width:            width of lcd in mm
;lcd_height:           height of lcd in mm
;lcd_dclk_freq:        in MHZ unit
;lcd_pwm_freq:         in HZ unit
;lcd_pwm_pol:          lcd backlight PWM polarity
;lcd_pwm_max_limit     lcd backlight PWM max limit(<=255)
;lcd_hbp:              hsync back porch(pixel) + hsync plus width(pixel);
;lcd_ht:               hsync total cycle(pixel)
;lcd_vbp:              vsync back porch(line) + vysnc plus width(line)
;lcd_vt:               vysnc total cycle(line)
;lcd_hspw:             hsync plus width(pixel)
;lcd_vspw:             vysnc plus width(pixel)
;lcd_lvds_if:          0:single link;  1:dual link
;lcd_lvds_colordepth:  0:8bit; 1:6bit
;lcd_lvds_mode:        0:NS mode; 1:JEIDA mode
;lcd_frm:              0:disable; 1:enable rgb666 dither; 2:enable rgb656 dither
;lcd_io_phase:         0:noraml; 1:intert phase(0~3bit: vsync phase; 4~7bit:hsync phase;
;                      8~11bit:dclk phase; 12~15bit:de phase)
;lcd_gamma_en          lcd gamma correction enable
;lcd_bright_curve_en   lcd bright curve correction enable
;lcd_cmap_en           lcd color map function enable
;deu_mode              0:smoll lcd screen; 1:large lcd screen(larger than 10inch)
;lcdgamma4iep:         Smart Backlight parameter, lcd gamma vale * 10;
;                      decrease it while lcd is not bright enough; increase while lcd is too bright
;smart_color           90:normal lcd screen 65:retina lcd screen(9.7inch)
;Pin setting for special function ie.LVDS, RGB data or vsync
;   name(donot care) = port:PD12<pin function><pull up or pull down><drive ability><output level>
;Pin setting for gpio:
;   lcd_gpio_X     = port:PD12<pin function><pull up or pull down><drive ability><output level>
;Pin setting for backlight enable pin
;   lcd_bl_en     = port:PD12<pin function><pull up or pull down><drive ability><output level>
;fsync setting, pulse to csi
;lcd_fsync_en          (0:disable fsync,1:enable)
;lcd_fsync_act_time    (active time of fsync, unit:pixel)
;lcd_fsync_dis_time    (disactive time of fsync, unit:pixel)
;lcd_fsync_pol         (0:positive;1:negative)
;gpio config: <&pio for cpu or &r_pio for cpus, port, port num, pio function,
pull up or pull down(default 0), driver level(default 1), data>
;For dual link lvds: use lvds2link_pins_a  and lvds2link_pins_b instead
;For rgb24: use rgb24_pins_a  and rgb24_pins_b instead
;For lvds1: use lvds1_pins_a  and lvds1_pins_b instead
;For lvds0: use lvds0_pins_a  and lvds0_pins_b instead
;----------------------------------------------------------------------------------*/
/*		
		lcd0: lcd0@01c0c000 {
			lcd_used            = <1>;

			lcd_driver_name     = "he0801a068";
			lcd_backlight       = <50>;
			lcd_if              = <4>;

			lcd_x               = <800>;
			lcd_y               = <1280>;
			lcd_width           = <52>;
			lcd_height          = <52>;
			lcd_dclk_freq       = <78>;

			lcd_pwm_used        = <1>;
			lcd_pwm_ch          = <0>;
			lcd_pwm_freq        = <50000>;
			lcd_pwm_pol         = <0>;
			lcd_pwm_max_limit   = <255>;


			lcd_hbp             = <149>;
			lcd_ht              = <978>;
			lcd_hspw            = <16>;
			lcd_vbp             = <7>;
			lcd_vt              = <1329>;
			lcd_vspw            = <5>;

			lcd_dsi_lane        = <4>;
			lcd_lvds_if         = <0>;
			lcd_lvds_colordepth = <0>;
			lcd_lvds_mode       = <0>;
			lcd_frm             = <0>;
			lcd_hv_clk_phase    = <0>;
			lcd_hv_sync_polarity= <0>;
			lcd_gamma_en        = <0>;
			lcd_bright_curve_en = <0>;
			lcd_cmap_en         = <0>;
			lcd_fsync_en        = <0>;
			lcd_fsync_act_time  = <1000>;
			lcd_fsync_dis_time  = <1000>;
			lcd_fsync_pol       = <0>;

			deu_mode            = <0>;
			lcdgamma4iep        = <22>;
			smart_color         = <90>;

			lcd_pin_power = "dcdc1";
			lcd_pin_power1 = "eldo3";
			lcd_bl_en = <&pio PH 12 1 0 3 1>;

			lcd_power = "dc1sw";
			lcd_gpio_0 = <&pio PD 22 1 0 3 1>;
			pinctrl-0 = <&dsi4lane_pins_a>;
			pinctrl-1 = <&dsi4lane_pins_b>;


		};
		*/
		/* lvds */
/*
		lcd0: lcd0@01c0c000 {
			lcd_used            = <1>;

			lcd_driver_name     = "default_lcd";
			lcd_backlight       = <50>;
			lcd_if              = <3>;

			lcd_x               = <1280>;
			lcd_y               = <800>;
			lcd_width           = <150>;
			lcd_height          = <94>;
			lcd_dclk_freq       = <68>;

			lcd_pwm_used        = <1>;
			lcd_pwm_ch          = <0>;
			lcd_pwm_freq        = <50000>;
			lcd_pwm_pol         = <1>;
			lcd_pwm_max_limit   = <255>;


			lcd_hbp             = <20>;
			lcd_ht              = <1418>;
			lcd_hspw            = <10>;
			lcd_vbp             = <10>;
			lcd_vt              = <814>;
			lcd_vspw            = <5>;

			lcd_lvds_if         = <0>;
			lcd_lvds_colordepth = <1>;
			lcd_lvds_mode       = <0>;
			lcd_frm             = <1>;
			lcd_hv_clk_phase    = <0>;
			lcd_hv_sync_polarity= <0>;
			lcd_gamma_en        = <0>;
			lcd_bright_curve_en = <0>;
			lcd_cmap_en         = <0>;
			lcd_fsync_en        = <0>;
			lcd_fsync_act_time  = <1000>;
			lcd_fsync_dis_time  = <1000>;
			lcd_fsync_pol       = <0>;

			deu_mode            = <0>;
			lcdgamma4iep        = <22>;
			smart_color         = <90>;

			//lcd_pin_power = "dcdc1";

			lcd_power = "dc1sw";
			lcd_bl_en        = <&r_pio PL 7 1 0 3 1>;
			pinctrl-0 = <&lvds0_pins_a>;
			pinctrl-1 = <&lvds0_pins_b>;

		};
*/
		lcd0: lcd0@01c0c000 {
			lcd_used            = <1>;

			lcd_driver_name     = "default_lcd";
			lcd_backlight       = <255>;
			lcd_if              = <0>;

			lcd_x               = <1024>;
			lcd_y               = <600>;
			lcd_width           = <154>;
			lcd_height          = <85>;
			lcd_dclk_freq       = <50>;

			lcd_pwm_used        = <1>;
			lcd_pwm_ch          = <0>;
			lcd_pwm_freq        = <50000>;
			lcd_pwm_pol         = <0>;
			lcd_pwm_max_limit   = <255>;


			lcd_hbp             = <130>;
			lcd_ht              = <1274>;
			lcd_hspw            = <10>;
			lcd_vbp             = <11>;
			lcd_vt              = <651>;
			lcd_vspw            = <1>;

			lcd_frm             = <1>;
			lcd_hv_clk_phase    = <0>;
			lcd_hv_sync_polarity= <0>;
			lcd_gamma_en        = <0>;
			lcd_bright_curve_en = <0>;
			lcd_cmap_en         = <0>;
			lcd_fsync_en        = <0>;
			lcd_fsync_act_time  = <1000>;
			lcd_fsync_dis_time  = <1000>;
			lcd_fsync_pol       = <0>;

			deu_mode            = <0>;
			lcdgamma4iep        = <22>;
			smart_color         = <90>;

			//lcd_pin_power = "dcdc1";

			lcd_power = "dc1sw";
			lcd_gpio_1 = <&pio PF 3 1 0 3 1>;
			lcd_bl_en = <&r_pio PL 7 1 0 3 1>;
			pinctrl-0 = <&rgb18_pins_a>;
			pinctrl-1 = <&rgb18_pins_b>;

		};
/*
		ctp {
				device_type = "ctp";
				status = "okay";
				ctp_name = "gt82x";
				ctp_twi_id = <0x0>;
				ctp_twi_addr = <0x38>;
				ctp_screen_max_x = <0x500>;
				ctp_screen_max_y = <0x320>;
				ctp_revert_x_flag = <0x1>;
				ctp_revert_y_flag = <0x1>;
				ctp_exchange_x_y_flag = <0x1>;
				ctp_int_port = <&pio PF 6 6 1 1 0>;
				ctp_wakeup = <&pio PF 1 1 1 1 1>;
				ctp-supply = <&reg_dcdc5>;
				ctp_power_ldo = <&reg_dcdc5>;
				ctp_power_ldo_vol = <3300>;
		};
*/
		ctp {
			device_type = "ctp";
			status = "okay";
			ctp_name = "gt9xxnew_ts";
			ctp_twi_id = <0x0>;
			ctp_twi_addr = <0x5D>;
			ctp_screen_max_x = <1024>;
			ctp_screen_max_y = <600>;
			ctp_revert_x_flag = <0x0>;
			ctp_revert_y_flag = <0x0>;
			ctp_exchange_x_y_flag = <0x0>;
			ctp_int_port = <&pio PF 6 6 1 1 0>;
			ctp_wakeup = <&pio PF 1 1 1 1 1>;
			ctp-supply = <&reg_dcdc5>;
			ctp_power_ldo = <&reg_dcdc5>;
			ctp_power_ldo_vol = <3300>;
		};

		wlan: wlan@0 {
			compatible    = "allwinner,sunxi-wlan";
			clocks        = <&clk_losc_out>;
			pinctrl-0;
			pinctrl-names;
			wlan_busnum    = <0x1>;
			wlan_power_num = <1>;
			wlan_power1    = "axp806-dcdce";
			wlan_io_regulator = "axp806-aldo2";
			wlan_io_voltage = <3300000>;
			wlan_power_voltage = <3300000>;
			wlan_regon    = <&r_pio PL 5 1 0x1 0x2 0>;
			wlan_hostwake = <&r_pio PL 6 6 0x1 0x2 0>;
			chip_en;
			power_en;
			status        = "okay";
			wakeup-source;
		};

		bt: bt@0 {
			compatible    = "allwinner,sunxi-bt";
			clocks        = <&clk_losc_out>;
			bt_power_num = <0x01>;
			bt_power1      = "axp806-dcdce";
			bt_io_regulator = "axp806-aldo2";
			bt_io_voltage = <3300000>;
			bt_power_voltage = <330000>;
			bt_rst_n      = <&r_pio PL 2 1 0x1 0x2 0>;
			status        = "okay";
		};

		btlpm: btlpm@0 {
			compatible  = "allwinner,sunxi-btlpm";
			uart_index  = <0x1>;
			bt_wake     = <&r_pio PL 4 1 0x1 0x2 1>;
			bt_hostwake = <&r_pio PL 3 6 0x1 0x2 1>;
			status      = "okay";
		};

		addr_mgt: addr_mgt@0 {
			compatible     = "allwinner,sunxi-addr_mgt";
			type_addr_wifi = <0x0>;
			type_addr_bt   = <0x0>;
			type_addr_eth  = <0x0>;
			status         = "okay";
		};

		uart0: uart@05000000 {
			uart-supply = <&reg_dcdc5>;
		};

		uart1: uart@05000400 {
			status = "okay";
		};

		uart3: uart@05000c00 {
			status = "okay";
		};
	};

	gpu: gpu@0x01800000 {
			gpu_idle = <0>;
			dvfs_status = <1>;
			pll_rate = <504000>;
			operating-points = <
				 /* KHz   uV */
				504000 950000
				472500 950000
				441000 950000
				252000 950000
			 >;
	};

	swd {
		compatible = "creality,swd";
		swdio = <&r_pio PL 8 1 0x1 0x2 1>;
		swclk = <&r_pio PL 9 1 0x1 0x2 1>;
		nrst = <&pio PD 22 1 0x1 0x2 1>;
		status = "okay";
	};
};

&cpu0 {
	cpu-supply = <&reg_dcdc1>;
};
